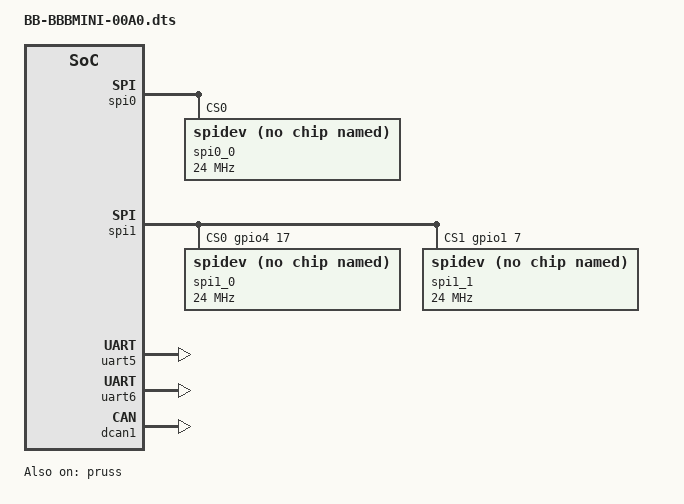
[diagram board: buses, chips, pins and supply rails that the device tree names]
/dts-v1/;
/plugin/;

/* Device tree file for BBBMINI */

/ {
    compatible = "ti,beaglebone", "ti,beaglebone-black";

    part-number = "BB-BBBMINI";
    version = "00A0";

    exclusive-use =

        /* PRU RCInput */
        "P8.15",	/* pru1: pr1_ecap0_ecap_capin, PPM-sum, SBUS, DSM */

        /* PRU RCOutput */
        "P8.28",	/* pru1: pr1_pru1_pru_r30_10, CH_1 */
        "P8.27",	/* pru1: pr1_pru1_pru_r30_8, CH_2 */
        "P8.30",	/* pru1: pr1_pru1_pru_r30_11, CH_3 */
        "P8.29",	/* pru1: pr1_pru1_pru_r30_9, CH_4 */
        "P8.40",	/* pru1: pr1_pru1_pru_r30_7, CH_5 */
        "P8.39",	/* pru1: pr1_pru1_pru_r30_6, CH_6 */
        "P8.42",	/* pru1: pr1_pru1_pru_r30_5, CH_7 */
        "P8.41",	/* pru1: pr1_pru1_pru_r30_4, CH_8 */
        "P8.44",	/* pru1: pr1_pru1_pru_r30_3, CH_9 */
        "P8.43",	/* pru1: pr1_pru1_pru_r30_2, CH_10 */
        "P8.46",	/* pru1: pr1_pru1_pru_r30_1, CH_11 */
        "P8.45",	/* pru1: pr1_pru1_pru_r30_0, CH_12 */

        "P8.12",	/* pru0: pr1_pru0_pru_r30_14, HC-SR04 trigger */
        "P8.16",	/* pru0: pr1_pru0_pru_r31_14, HC-SR04 echo */

        /* SPI0 */
        "P9.22",    /* spi0: spi0_sclk, SPI0_SCLK */
        "P9.21",    /* spi0: spi0_d0, SPI0_MISO */
        "P9.18",    /* spi0: spi0_d1, SPI0_MOSI */
        "P9.17",    /* spi0: spi0_cs0, CS0 */

        /* SPI1 */
        "P9.31",	/* spi1: spi1_sclk, SPI1_SCLK */
        "P9.29",	/* spi1: spi1_d0, SPI1_MISO */
        "P9.30",	/* spi1: spi1_d1, SPI1_MOSI */
        "P9.28",	/* spi1: spi1_cs0, MPU9250 CS0 */
        "P9.42",	/* spi1: spi1_cs1, MS5611 CS1 */
		
        /* UART4 MAVLink */
        "P9.11",	/* uart4: uart4_rxd */
        "P9.13",	/* uart4: uart4_txd */

        /* UART5 GPS */
        "P8.38", 	/* uart5: uart5_rxd */
        "P8.37", 	/* uart5: uart5_txd */

        /* CAN1 */
        "P9.24", 	/* can1: dcan1_rx */
        "P9.26", 	/* can1: dcan1_tx */
        		
        /* Hardware in use */
        "pru1",
        "spi0",
        "spi1",
        "uart4",
        "uart5",
        "can1";

    fragment@0 {
        target = <&am33xx_pinmux>;
        __overlay__ {

            pru_pru_pins: pinmux_pru_pru_pins {
                pinctrl-single,pins = <
                    0x03c 0x35	/* ecap0_in_pwm0_out.pr1_ecap0_ecap_capin, MODE5 | INPUT_PULLUP | PRU, PPM-sum, SBUS, DSM  */

                    0x0e8 0x25	/* lcd_pclk.pr1_pru1_pru_r30_10, MODE5 | OUTPUT | PRU, CH_1 */
                    0x0e0 0x25	/* lcd_vsync.pr1_pru1_pru_r30_8, MODE5 | OUTPUT | PRU, CH_2 */
                    0x0ec 0x25	/* lcd_ac_bias_en.pr1_pru1_pru_r30_11, MODE5 | OUTPUT | PRU, CH_3 */
                    0x0e4 0x25	/* lcd_hsync.pr1_pru1_pru_r30_9, MODE5 | OUTPUT | PRU, CH_4 */
                    0x0bc 0x25	/* lcd_data7.pr1_pru1_pru_r30_7, MODE5 | OUTPUT | PRU, CH_5 */
                    0x0b8 0x25	/* lcd_data6.pr1_pru1_pru_r30_6, MODE5 | OUTPUT | PRU, CH_6 */
                    0x0b4 0x25	/* lcd_data5.pr1_pru1_pru_r30_5, MODE5 | OUTPUT | PRU, CH_7 */
                    0x0b0 0x25	/* lcd_data4.pr1_pru1_pru_r30_4, MODE5 | OUTPUT | PRU, CH_8 */
                    0x0ac 0x25	/* lcd_data3.pr1_pru1_pru_r30_3, MODE5 | OUTPUT | PRU, CH_9 */
                    0x0a8 0x25	/* lcd_data2.pr1_pru1_pru_r30_2, MODE5 | OUTPUT | PRU, CH_10 */
                    0x0a4 0x25	/* lcd_data1.pr1_pru1_pru_r30_1, MODE5 | OUTPUT | PRU, CH_11 */
                    0x0a0 0x25	/* lcd_data0.pr1_pru1_pru_r30_0, MODE5 | OUTPUT | PRU, CH_12 */

                    0x030 0x6 	/* gpmc_ad12.pr1_pru0_pru_r30_14, MODE6 | OUTPUT_PULLDOWN | HC-SR04 trigger */
                    0x038 0x26	/* gpmc_ad14.pr1_pru0_pru_r31_14, MODE6 | INPUT_PULLDOWN | HC-SR04 echo */
                >;
            };

            bb_spi0_pins: pinmux_bb_spi0_pins {
                pinctrl-single,pins = <
                    0x150 0x30  /* spi0_sclk.spi0_sclk, MODE0 | INPUT_PULLUP | SPI0_SCLK P9_22 */
                    0x154 0x30  /* spi0_d0.spi0_d0, MODE0 | INPUT_PULLUP | SPI0_MISO P9_21 */
                    0x158 0x10  /* spi0_d0.spi0_d1, MODE0 | OUTPUT_PULLUP | SPI0_MOSI P9_18 */
                    0x15c 0x10  /* spi0_cs0.spi0_cs0, MODE0 | OUTPUT_PULLUP | SPI0_CS0 P9_17 */
                >;
            };

            bb_spi1_pins: pinmux_bb_spi1_pins {
                pinctrl-single,pins = <
                    0x190 0x33	/* mcasp0_aclkx.spi1_sclk, MODE3 | INPUT_PULLUP | SPI1_SCLK P9_31 */
                    0x194 0x33	/* mcasp0_fsx.spi1_d0, MODE3 | INPUT_PULLUP | SPI1_MISO P9_29 */
                    0x198 0x13	/* mcasp0_axr0.spi1_d1, MODE3 | OUTPUT_PULLUP | SPI1_MOSI P9_30 */
                    0x19c 0x13	/* mcasp0_ahclkr.spi1_cs0, MODE3 | OUTPUT_PULLUP | MPU9250 CS0 P9_28 */
                    0x164 0x12	/* ecap0_in_pwm0_out.spi1_cs1, MODE2 | OUTPUT_PULLUP | MS5611 CS1 P9_42 */

                    0x1a0 0x30  /* Mcasp0_aclkr P9_42 */
                >;
            };

            bb_uart4_pins: pinmux_bb_uart4_pins {
                pinctrl-single,pins = <
                    0x070 0x26  /* lcd_data9.uart4_rxd | MODE6 P9.11 */
                    0x074 0x06  /* lcd_data8.uart4_txd | MODE6 P8.13 */
                >;
            };
			
            bb_uart5_pins: pinmux_bb_uart5_pins {
                pinctrl-single,pins = <
                    0x0C4 0x24  /* lcd_data9.uart5_rxd | MODE4 P8.38 */
                    0x0C0 0x04  /* lcd_data8.uart5_txd | MODE4 P8.37 */
                >;
            };			

            dcan1_pins_s0: dcan1_pins_s0 {
                pinctrl-single,pins = <
                    0x180 0x12  /* d_can1_tx, SLEWCTRL_FAST | INPUT_PULLUP | MODE2 */
                    0x184 0x32  /* d_can1_rx, SLEWCTRL_FAST | RECV_ENABLE | INPUT_PULLUP | MODE2 */
                >;
            };

        };
    };
	
    fragment@1 {
        target = <&pruss>;
        __overlay__ {
            status = "okay";
            pinctrl-names = "default";
            pinctrl-0 = <&pru_pru_pins>;
        };
    };

    fragment@2 {
        target = <&spi0>;
        __overlay__ {
            status = "okay";
            pinctrl-names = "default";
            pinctrl-0 = <&bb_spi0_pins>;

            #address-cells = <1>;
            #size-cells = <0>;

            spi0_0 {
                #address-cells = <1>;
                #size-cells = <0>;
                spi-max-frequency = <24000000>;
                reg = <0>;
                compatible = "spidev";
            };
        };
    };

    fragment@3 {
        target = <&spi1>;
        __overlay__ {
            status = "okay";
            pinctrl-names = "default";
            pinctrl-0 = <&bb_spi1_pins>;

            #address-cells = <1>;
            #size-cells = <0>;

            cs-gpios = <&gpio4 17 0>, <&gpio1 7 0>;

            spi1_0 {
                #address-cells = <1>;
                #size-cells = <0>;
                reg = <0>;
                spi-max-frequency = <24000000>;
                compatible = "spidev";
            };

            spi1_1 {
                #address-cells = <1>;
                #size-cells = <0>;
                reg = <1>;
                spi-max-frequency = <24000000>;
                compatible = "spidev";
           };
        };
    };

    fragment@4 {
        target = <&uart5>;
        __overlay__ {
            status = "okay";
            pinctrl-names = "default";
            pinctrl-0 = <&bb_uart4_pins>;
        };
    };

    fragment@5 {
        target = <&uart6>;
        __overlay__ {
            status = "okay";
            pinctrl-names = "default";
            pinctrl-0 = <&bb_uart5_pins>;
        };
    };		

    fragment@6 {
        target = <&dcan1>;
        __overlay__ {
             #address-cells = <1>;
             #size-cells = <0>;

             status = "okay";
             pinctrl-names = "default";
             pinctrl-0 = <&dcan1_pins_s0>;
        };
    };

};
